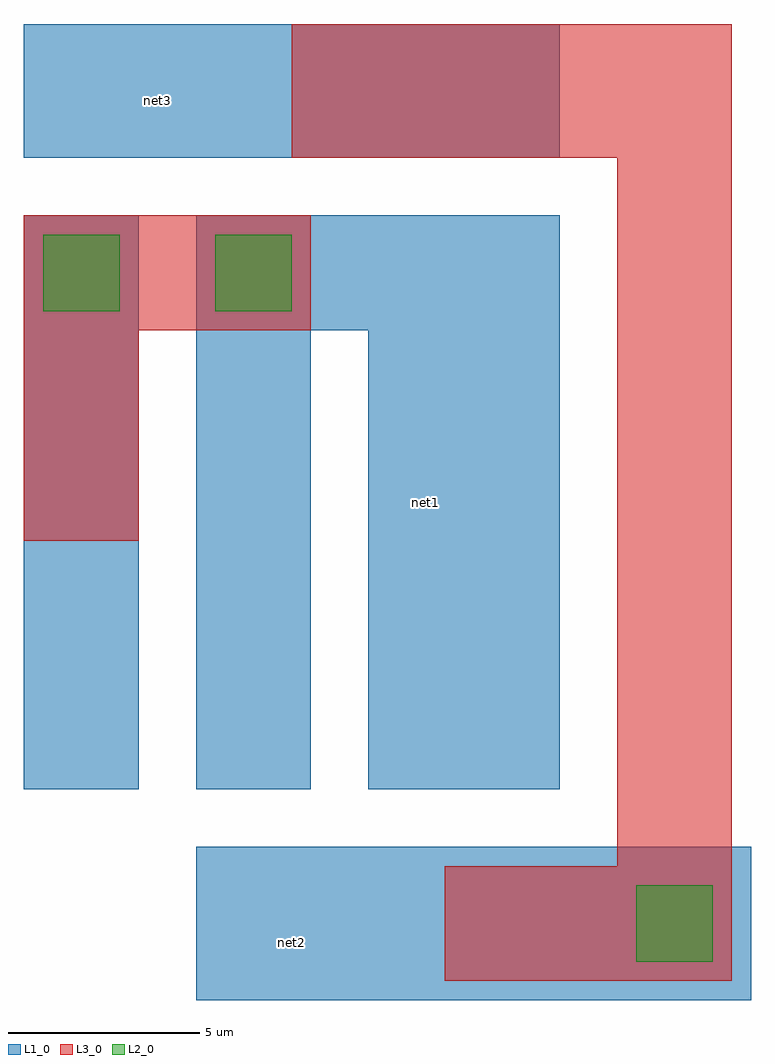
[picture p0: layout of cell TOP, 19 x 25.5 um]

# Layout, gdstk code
import gdstk
lib = gdstk.Library(unit=1e-6, precision=1e-09)
def R(c, l, rs):  # rectangles x0, y0, x1, y1
    for r in rs: c.add(gdstk.rectangle(r[:2], r[2:], *l))
L1_0 = (1, 0)
L2_0 = (2, 0)
L3_0 = (3, 0)

top = lib.new_cell('TOP')
R(top, L1_0, [(-9.5,-5.5,5,-1.5), (-14,0,-11,15), (-9.5,0,-6.5,15), (-5,0,0,15), (-9.5,12,0,15), (-14,16.5,0,20)])
R(top, L2_0, [(2,-4.5,4,-2.5), (-13.5,12.5,-11.5,14.5), (-9,12.5,-7,14.5)])
R(top, L3_0, [(-3,-5,4.5,-2), (1.5,-4,4.5,20), (-14,6.5,-11,15), (-14,12,-6.5,15), (-7,16.5,4.5,20)])
top.add(gdstk.Label('net1', (-3.5,7.5), layer=1, texttype=0))
top.add(gdstk.Label('net2', (-7,-4), layer=1, texttype=0))
top.add(gdstk.Label('net3', (-10.5,18), layer=1, texttype=0))

lib.write_gds('TOP.gds')
